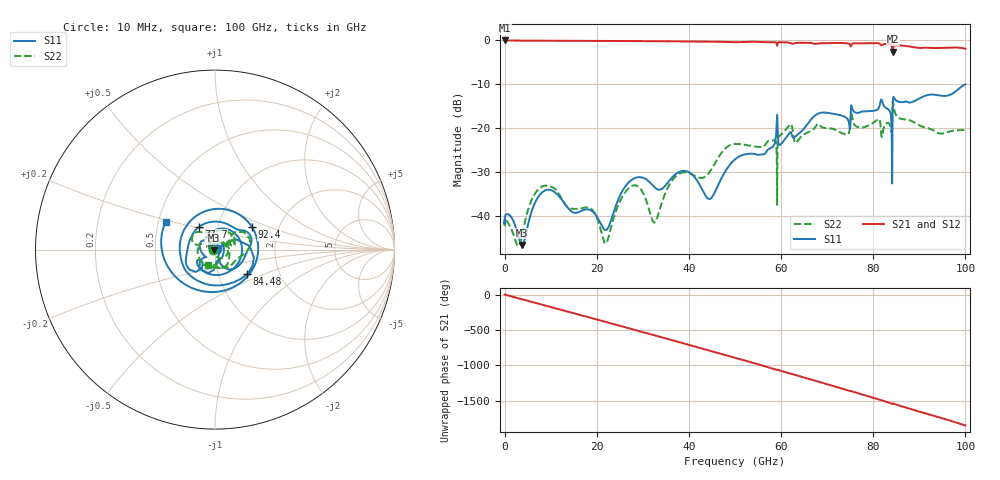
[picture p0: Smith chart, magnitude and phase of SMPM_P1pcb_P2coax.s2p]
! Touchstone file from project SMPM
! Exported from ElectronicsDesktop 2018.1.0
# GHZ S DB R 50.000000
! Modal data exported
! Port[1] = 1:1
! Port[2] = 2:1
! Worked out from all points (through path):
!   10000 points, 10 MHz to 100 GHz, reference 50 ohm
!   highest |S21| = 0.00 dB at 10 MHz (marker M1); lowest = -2.6 dB at 84.2 GHz (marker M2)
!   group delay of S21, straight-line fit = 51.3 ps
!   lowest |S11| = -46.7 dB at 3.78 GHz (marker M3), VSWR 1.01, Z = 49.6 - j0.279 ohm
!   |S11| at or under -10 dB: start of sweep to end of sweep
!   |S22| runs from -46.9 to -13.8 dB; largest |S21 - S12| = 0
!   S11 on the Smith chart (normalised r, x): 10 MHz: 1.02, +0.00; 77.7 GHz: 0.81, +0.21; 84.48 GHz: 1.37, -0.39; 92.4 GHz: 1.46, +0.39; 100 GHz: 0.55, +0.19
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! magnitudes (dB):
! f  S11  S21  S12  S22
! 10 MHz  -41.0  0.0  0.0  -41.3
! 2.83 GHz  -44.0  0.0  0.0  -46.8
! 3.78 GHz  -46.7  0.0  0.0  -44.5
! 5.93 GHz  -38.8  0.0  0.0  -36.2
! 8.62 GHz  -34.3  -0.1  -0.1  -33.1
! 16.68 GHz  -38.9  -0.1  -0.1  -38.3
! 19.32 GHz  -39.2  -0.1  -0.1  -39.0
! 21.91 GHz  -43.2  -0.1  -0.1  -46.3
! 27.54 GHz  -31.8  -0.1  -0.1  -33.2
! 29.76 GHz  -31.2  -0.2  -0.2  -34.2
! 32.29 GHz  -33.2  -0.2  -0.2  -41.4
! 33.34 GHz  -34.0  -0.2  -0.2  -39.7
! 37.34 GHz  -30.3  -0.2  -0.2  -30.8
! 44.59 GHz  -36.1  -0.3  -0.3  -29.8
! 50.01 GHz  -27.1  -0.4  -0.4  -23.6
! 66.67 GHz  -17.8  -0.6  -0.6  -20.5
! 77.7 GHz  -16.2  -0.6  -0.6  -19.9
! 83.34 GHz  -15.8  -0.8  -0.8  -18.9
! 84.2 GHz  -17.0  -2.6  -2.6  -14.3
! 84.48 GHz  -13.0  -1.3  -1.3  -15.4
! 92.4 GHz  -12.3  -1.7  -1.7  -20.2
! 100 GHz  -10.0  -1.9  -1.9  -20.4
